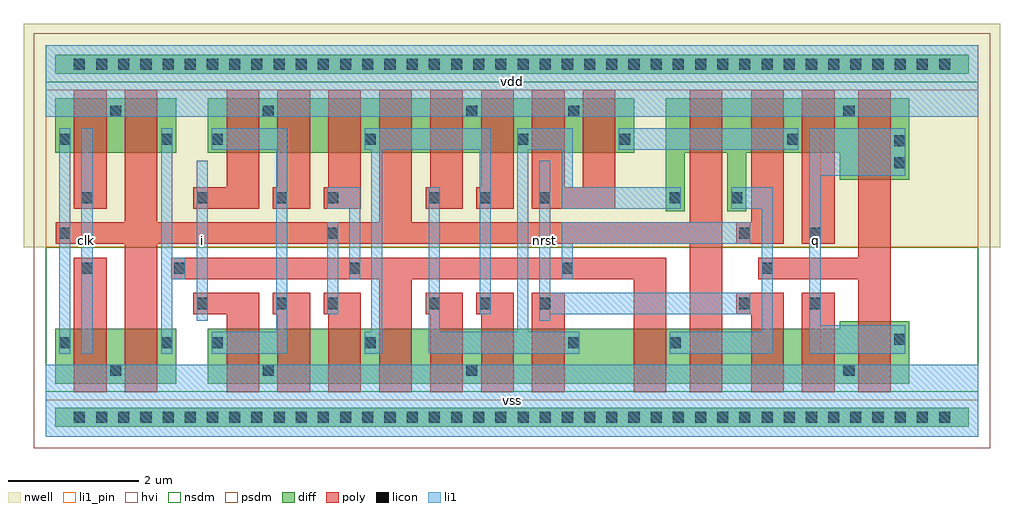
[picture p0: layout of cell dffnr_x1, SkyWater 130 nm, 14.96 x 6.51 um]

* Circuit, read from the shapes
.subckt dffnr_x1 clk i nrst q vdd vss
XM1 vss clk n1 VSUBS sky130_fd_pr__nfet_g5v0d10v5 w=0.84 l=0.5
XM2 n2 n1 vss VSUBS sky130_fd_pr__nfet_g5v0d10v5 w=0.84 l=0.5
XM3 vss i n3 VSUBS sky130_fd_pr__nfet_g5v0d10v5 w=0.84 l=0.5
XM4 n4 n3 vss VSUBS sky130_fd_pr__nfet_g5v0d10v5 w=0.84 l=0.5
XM5 n5 n1 n4 VSUBS sky130_fd_pr__nfet_g5v0d10v5 w=0.84 l=0.5
XM6 n6 n2 n5 VSUBS sky130_fd_pr__nfet_g5v0d10v5 w=0.84 l=0.5
XM7 vss n7 n6 VSUBS sky130_fd_pr__nfet_g5v0d10v5 w=0.84 l=0.5
XM8 n8 n5 vss VSUBS sky130_fd_pr__nfet_g5v0d10v5 w=0.84 l=0.5
XM9 n7 nrst n8 VSUBS sky130_fd_pr__nfet_g5v0d10v5 w=0.84 l=0.5
XM10 n9 n2 n7 VSUBS sky130_fd_pr__nfet_g5v0d10v5 w=0.84 l=0.5
XM11 n10 n1 n9 VSUBS sky130_fd_pr__nfet_g5v0d10v5 w=0.84 l=0.5
XM12 n11 nrst n10 VSUBS sky130_fd_pr__nfet_g5v0d10v5 w=0.84 l=0.5
XM13 vss q n11 VSUBS sky130_fd_pr__nfet_g5v0d10v5 w=0.84 l=0.5
XM14 q n9 vss VSUBS sky130_fd_pr__nfet_g5v0d10v5 w=0.955 l=0.5
XM15 vdd clk n1 n12 sky130_fd_pr__pfet_g5v0d10v5 w=0.84 l=0.5
XM16 n2 n1 vdd n12 sky130_fd_pr__pfet_g5v0d10v5 w=0.84 l=0.5
XM17 vdd i n3 n12 sky130_fd_pr__pfet_g5v0d10v5 w=0.84 l=0.5
XM18 n13 n3 vdd n12 sky130_fd_pr__pfet_g5v0d10v5 w=0.84 l=0.5
XM19 n5 n2 n13 n12 sky130_fd_pr__pfet_g5v0d10v5 w=0.84 l=0.5
XM20 n14 n1 n5 n12 sky130_fd_pr__pfet_g5v0d10v5 w=0.84 l=0.5
XM21 vdd n7 n14 n12 sky130_fd_pr__pfet_g5v0d10v5 w=0.84 l=0.5
XM22 n7 n5 vdd n12 sky130_fd_pr__pfet_g5v0d10v5 w=0.84 l=0.5
XM23 vdd nrst n7 n12 sky130_fd_pr__pfet_g5v0d10v5 w=0.84 l=0.5
XM24 n15 nrst vdd n12 sky130_fd_pr__pfet_g5v0d10v5 w=0.84 l=0.5
XM25 n9 n1 n7 n12 sky130_fd_pr__pfet_g5v0d10v5 w=0.84 l=0.5
XM26 n15 n2 n9 n12 sky130_fd_pr__pfet_g5v0d10v5 w=0.84 l=0.5
XM27 vdd q n15 n12 sky130_fd_pr__pfet_g5v0d10v5 w=0.84 l=0.5
XM28 q n9 vdd n12 sky130_fd_pr__pfet_g5v0d10v5 w=1.255 l=0.5
.ends

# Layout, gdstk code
import gdstk
lib = gdstk.Library(unit=1e-6, precision=1e-09)
def R(c, l, rs):  # rectangles x0, y0, x1, y1
    for r in rs: c.add(gdstk.rectangle(r[:2], r[2:], *l))
def A(c, l, x, y, w, h, nx, ny, dx, dy):  # array of equal rectangles
    R(c, l, [(x+i*dx, y+j*dy, x+i*dx+w, y+j*dy+h) for i in range(nx) for j in range(ny)])
def P(c, l, *ps):  # polygons
    for p in ps: c.add(gdstk.Polygon(p, *l))
nwell = (64, 20)
diff = (65, 20)
poly = (66, 20)
licon = (66, 44)
li1_pin = (67, 16)
li1 = (67, 20)
hvi = (75, 20)
nsdm = (93, 44)
psdm = (94, 20)

dffnr_x1 = lib.new_cell('dffnr_x1')
R(dffnr_x1, nwell, [(-0.33,2.9,14.63,6.33)])
R(dffnr_x1, diff, [(0.15,0.15,14.15,0.44), (0.15,0.81,2,1.65), (0.15,4.35,2,5.19), (2.49,4.35,9.02,5.19), (0.15,5.56,14.15,5.85)])
P(dffnr_x1, diff, [(9.51,3.455),(9.51,5.19),(13.24,5.19),(13.24,3.935),(12.17,3.935),(12.17,4.35),(10.74,4.35),(10.74,3.455),(10.45,3.455),(10.45,4.35),(9.8,4.35),(9.8,3.455)],
  [(2.49,0.81),(2.49,1.65),(12.17,1.65),(12.17,1.765),(13.24,1.765),(13.24,0.81)])
R(dffnr_x1, poly, [(0.435,0.68,0.935,2.745), (7.455,0.68,7.955,2.205), (11.595,0.68,12.095,2.205), (11.595,2.955,12.095,5.32), (0.435,3.495,0.935,5.32)])
P(dffnr_x1, poly, [(4.335,0.68),(4.335,1.875),(4.265,1.875),(4.265,2.205),(4.835,2.205),(4.835,0.68)],
  [(1.215,0.68),(1.215,2.955),(0.16,2.955),(0.16,3.285),(1.215,3.285),(1.215,5.32),(1.715,5.32),(1.715,3.285),(5.115,3.285),(5.115,5.32),(5.615,5.32),(5.615,3.285),(9.875,3.285),(9.875,5.32),(10.375,5.32),(10.375,0.68),(9.875,0.68),(9.875,2.955),(1.715,2.955),(1.715,0.68)],
  [(4.265,3.495),(4.265,3.825),(4.335,3.825),(4.335,5.32),(4.835,5.32),(4.835,3.495)],
  [(10.585,2.955),(10.585,3.285),(10.815,3.285),(10.815,5.32),(11.315,5.32),(11.315,2.955)],
  [(5.115,0.68),(5.115,2.415),(1.925,2.415),(1.925,2.745),(9.515,2.745),(9.515,0.68),(9.015,0.68),(9.015,2.415),(5.615,2.415),(5.615,0.68)],
  [(3.555,0.68),(3.555,1.875),(3.485,1.875),(3.485,2.205),(4.055,2.205),(4.055,0.68)],
  [(3.485,3.495),(3.485,3.825),(3.555,3.825),(3.555,5.32),(4.055,5.32),(4.055,3.495)],
  [(2.265,3.495),(2.265,3.825),(2.775,3.825),(2.775,5.32),(3.275,5.32),(3.275,3.495)],
  [(2.775,0.68),(2.775,1.875),(2.265,1.875),(2.265,2.205),(3.275,2.205),(3.275,0.68)],
  [(6.675,0.68),(6.675,1.875),(6.605,1.875),(6.605,2.205),(7.175,2.205),(7.175,0.68)],
  [(6.605,3.495),(6.605,3.825),(6.675,3.825),(6.675,5.32),(7.175,5.32),(7.175,3.495)],
  [(5.825,3.495),(5.825,3.825),(5.895,3.825),(5.895,5.32),(6.395,5.32),(6.395,3.495)],
  [(5.895,0.68),(5.895,1.875),(5.825,1.875),(5.825,2.205),(6.395,2.205),(6.395,0.68)],
  [(7.455,3.495),(7.455,5.32),(7.955,5.32),(7.955,3.825),(8.235,3.825),(8.235,5.32),(8.735,5.32),(8.735,3.495)],
  [(10.815,0.68),(10.815,1.875),(10.585,1.875),(10.585,2.205),(11.315,2.205),(11.315,0.68)],
  [(12.455,0.68),(12.455,2.415),(10.925,2.415),(10.925,2.745),(12.455,2.745),(12.455,5.32),(12.955,5.32),(12.955,0.68)])
A(dffnr_x1, licon, 0.435, 0.21, 0.17, 0.17, 40, 2, 0.34, 5.41)
A(dffnr_x1, licon, 2.55, 4.475, 0.17, 0.17, 3, 1, 2.34, 0)
R(dffnr_x1, licon, [(0.99,0.93,1.16,1.1), (3.33,0.93,3.5,1.1), (6.45,0.93,6.62,1.1), (12.23,0.93,12.4,1.1), (0.21,1.355,0.38,1.525), (1.77,1.355,1.94,1.525), (2.55,1.355,2.72,1.525), (4.89,1.355,5.06,1.525), (8.01,1.355,8.18,1.525), (9.57,1.355,9.74,1.525), (13.01,1.405,13.18,1.575), (2.315,1.955,2.485,2.125), (3.535,1.955,3.705,2.125), (4.315,1.955,4.485,2.125), (5.875,1.955,6.045,2.125), (6.655,1.955,6.825,2.125), (7.57,1.955,7.74,2.125), (10.635,1.955,10.805,2.125), (11.71,1.955,11.88,2.125), (0.55,2.495,0.72,2.665), (1.975,2.495,2.145,2.665), (4.655,2.495,4.825,2.665), (7.91,2.495,8.08,2.665), (10.975,2.495,11.145,2.665), (0.21,3.035,0.38,3.205), (4.315,3.035,4.485,3.205), (10.635,3.035,10.805,3.205), (11.71,3.035,11.88,3.205), (0.55,3.575,0.72,3.745), (2.315,3.575,2.485,3.745), (3.535,3.575,3.705,3.745), (4.315,3.575,4.485,3.745), (5.875,3.575,6.045,3.745), (6.655,3.575,6.825,3.745), (7.57,3.575,7.74,3.745), (9.57,3.575,9.74,3.745), (10.51,3.575,10.68,3.745), (13.01,4.11,13.18,4.28), (13.01,4.45,13.18,4.62), (0.21,4.475,0.38,4.645), (1.77,4.475,1.94,4.645), (8.79,4.475,8.96,4.645), (11.37,4.475,11.54,4.645), (0.99,4.9,1.16,5.07), (3.33,4.9,3.5,5.07), (6.45,4.9,6.62,5.07), (8.01,4.9,8.18,5.07), (12.23,4.9,12.4,5.07)])
R(dffnr_x1, li1_pin, [(0,0,14.3,1.1), (0.55,1.27,0.72,4.73), (11.71,1.27,11.88,4.73), (2.315,1.775,2.485,4.225), (7.57,1.775,7.74,4.225), (0,4.9,14.3,6)])
R(dffnr_x1, li1, [(0,0,14.3,1.1), (0.21,1.27,0.38,4.73), (0.55,1.27,0.72,4.73), (2.315,1.775,2.485,4.225), (4.315,1.875,4.485,3.285), (8.79,4.395,11.54,4.73), (0,4.9,14.3,6)])
P(dffnr_x1, li1, [(7.91,2.415),(7.91,3.285),(10.805,3.285),(10.805,2.955),(8.08,2.955),(8.08,2.415)],
  [(4.655,2.415),(4.655,3.495),(4.315,3.495),(4.315,3.825),(4.825,3.825),(4.825,2.415)],
  [(1.77,1.27),(1.77,4.73),(1.94,4.73),(1.94,2.745),(2.145,2.745),(2.145,2.415),(1.94,2.415),(1.94,1.27)],
  [(2.55,1.27),(2.55,1.605),(3.535,1.605),(3.535,4.395),(2.55,4.395),(2.55,4.73),(3.62,4.73),(3.62,4.725),(3.705,4.725),(3.705,1.275),(3.62,1.275),(3.62,1.27)],
  [(4.89,1.27),(4.89,1.605),(4.995,1.605),(4.995,4.395),(4.89,4.395),(4.89,4.73),(6.74,4.73),(6.74,4.725),(6.825,4.725),(6.825,1.875),(6.655,1.875),(6.655,4.395),(5.165,4.395),(5.165,1.275),(5.08,1.275),(5.08,1.27)],
  [(5.96,1.27),(5.96,1.275),(5.875,1.275),(5.875,3.825),(6.045,3.825),(6.045,1.605),(7.23,1.605),(7.23,4.73),(7.995,4.73),(7.995,4.725),(8.08,4.725),(8.08,3.825),(9.74,3.825),(9.74,3.495),(7.91,3.495),(7.91,4.395),(7.4,4.395),(7.4,1.605),(8.18,1.605),(8.18,1.27)],
  [(7.57,1.775),(7.57,4.225),(7.74,4.225),(7.74,2.205),(10.805,2.205),(10.805,1.875),(7.74,1.875),(7.74,1.775)],
  [(9.57,1.27),(9.57,1.605),(10.975,1.605),(10.975,3.495),(10.51,3.495),(10.51,3.825),(11.145,3.825),(11.145,1.275),(11.06,1.275),(11.06,1.27)],
  [(11.71,1.27),(11.71,4.73),(13.18,4.73),(13.18,3.995),(11.88,3.995),(11.88,1.705),(13.18,1.705),(13.18,1.27)])
R(dffnr_x1, hvi, [(-0.18,-0.18,14.48,6.18)])
R(dffnr_x1, nsdm, [(0,0.685,14.3,2.9), (0,5.435,14.3,6)])
R(dffnr_x1, psdm, [(0,0,14.3,0.565), (0,2.9,14.3,5.315)])
dffnr_x1.add(gdstk.Label('vdd', (7.15,5.45), layer=67, texttype=16))
dffnr_x1.add(gdstk.Label('vss', (7.15,0.55), layer=67, texttype=16))
dffnr_x1.add(gdstk.Label('clk', (0.635,3), layer=67, texttype=16))
dffnr_x1.add(gdstk.Label('i', (2.4,3), layer=67, texttype=16))
dffnr_x1.add(gdstk.Label('nrst', (7.655,3), layer=67, texttype=16))
dffnr_x1.add(gdstk.Label('q', (11.795,3), layer=67, texttype=16))

lib.write_gds('dffnr_x1.gds')
